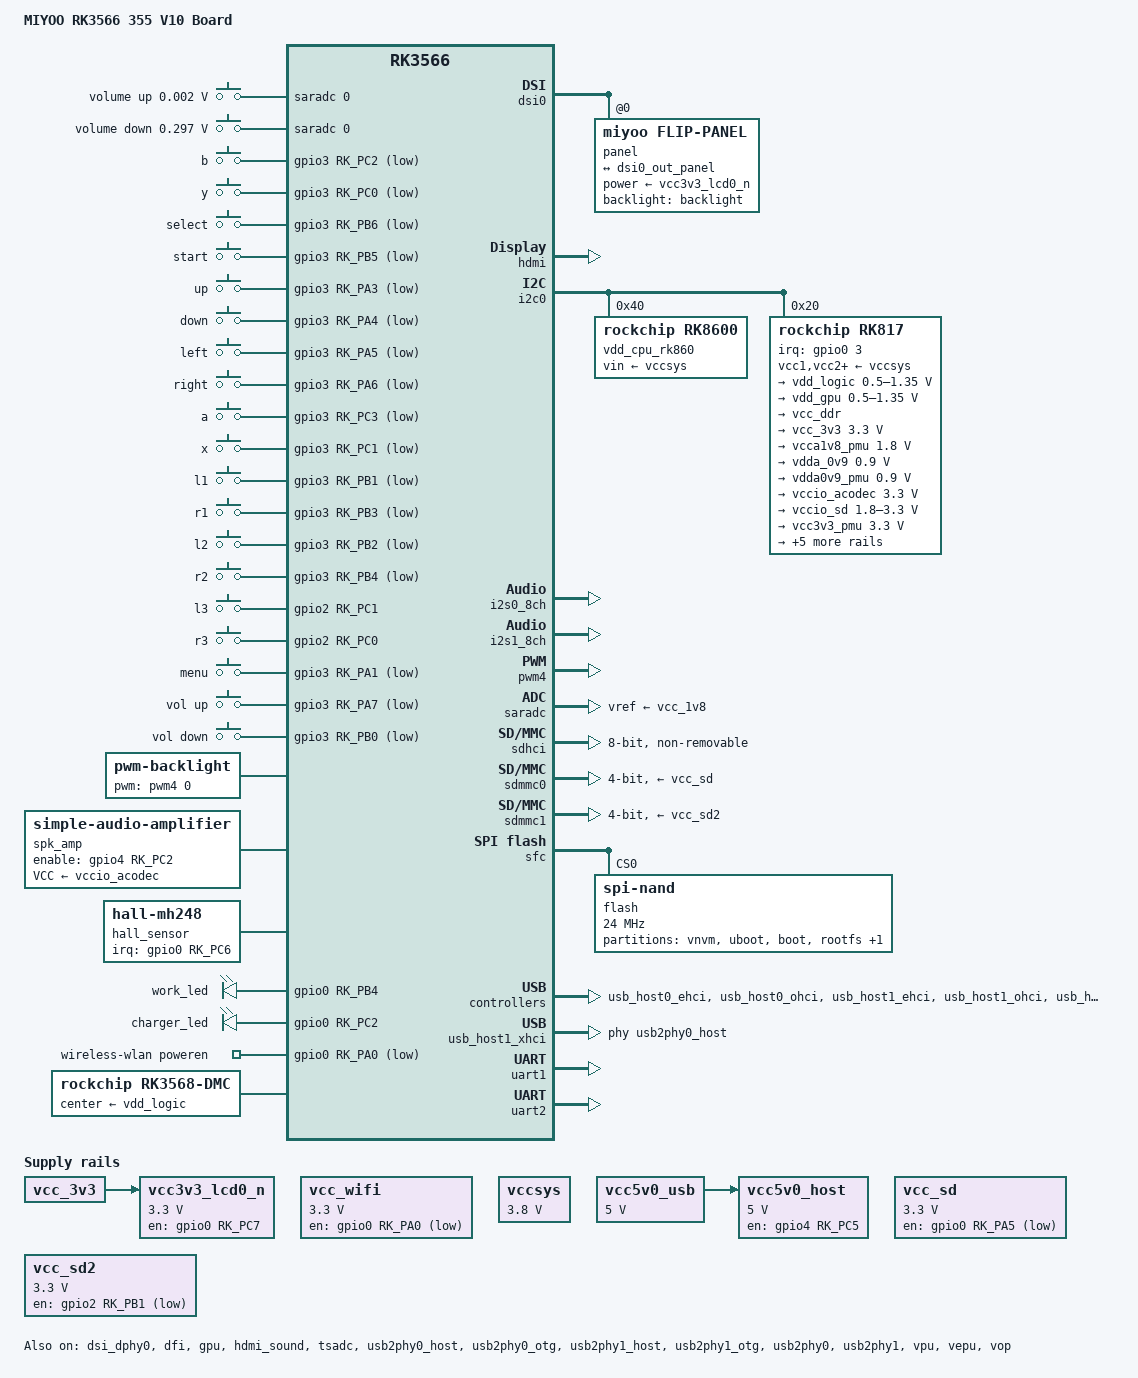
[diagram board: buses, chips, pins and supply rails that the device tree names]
// SPDX-License-Identifier: (GPL-2.0+ OR MIT)
/*
 * Copyright (c) 2020 Rockchip Electronics Co., Ltd.
 * Miyoo Flip (codename miyoo-355) - Mainline Linux device tree
 */
/dts-v1/;

#include <dt-bindings/gpio/gpio.h>
#include <dt-bindings/pinctrl/rockchip.h>
#include <dt-bindings/pwm/pwm.h>
#include <dt-bindings/input/input.h>
#include <dt-bindings/interrupt-controller/irq.h>
#include <dt-bindings/soc/rockchip,vop2.h>
#include "rk3566.dtsi"

/ {
	model = "MIYOO RK3566 355 V10 Board";
	compatible = "rockchip,rk3566-miyoo-355-v10-linux", "rockchip,rk3566";

	chosen {
		/* Serial console: kernel and bootloader use UART2 @ 0xfe660000 (ttyS2, 1500000 8n1). No console=tty0 until display works. */
		/* root: Kernel 6.1 creates 6 MTD block devices (mtdblock0=whole/other, 1=vnvm, 2=uboot, 3=boot, 4=rootfs, 5=userdata), so rootfs is mtdblock4. For 6.6/6.11 (5 partitions) rootfs is mtdblock3 — override in U-Boot if needed. See docs/PARTITION-LAYOUT.md. */
		/* To find hang: add " initcall_debug loglevel=8" after earlycon (see docs/STOCK-VS-MAINLINE-BOOT.md). */
		/* Debug: to trace sync_state/deferred-probe issues, add:
		 *   fw_devlink.sync_state=strict deferred_probe_timeout=15
		 * To trace init-call ordering: add  initcall_debug loglevel=8  */
		bootargs = "earlycon=uart8250,mmio32,0xfe660000 console=ttyS2,1500000n8 root=/dev/mtdblock3 rootfstype=squashfs rootwait fw_devlink=permissive";
		stdout-path = "serial2:1500000n8";
		linux,stdout-path = "serial2:1500000n8";
	};

	adc_keys: adc-keys {
		compatible = "adc-keys";
		io-channels = <&saradc 0>;
		io-channel-names = "buttons";
		keyup-threshold-microvolt = <1800000>;
		poll-interval = <100>;

		vol-up-key {
			label = "volume up";
			linux,code = <KEY_VOLUMEUP>;
			press-threshold-microvolt = <1750>;
		};

		vol-down-key {
			label = "volume down";
			linux,code = <KEY_VOLUMEDOWN>;
			press-threshold-microvolt = <297500>;
		};
	};

/*
#define RETRO_DEVICE_ID_JOYPAD_B        0
#define RETRO_DEVICE_ID_JOYPAD_Y        1
#define RETRO_DEVICE_ID_JOYPAD_SELECT   2
#define RETRO_DEVICE_ID_JOYPAD_START    3
#define RETRO_DEVICE_ID_JOYPAD_UP       4
#define RETRO_DEVICE_ID_JOYPAD_DOWN     5
#define RETRO_DEVICE_ID_JOYPAD_LEFT     6
#define RETRO_DEVICE_ID_JOYPAD_RIGHT    7
#define RETRO_DEVICE_ID_JOYPAD_A        8
#define RETRO_DEVICE_ID_JOYPAD_X        9
#define RETRO_DEVICE_ID_JOYPAD_L       10
#define RETRO_DEVICE_ID_JOYPAD_R       11
#define RETRO_DEVICE_ID_JOYPAD_L2      12
#define RETRO_DEVICE_ID_JOYPAD_R2      13
#define RETRO_DEVICE_ID_JOYPAD_L3      14
#define RETRO_DEVICE_ID_JOYPAD_R3      15
*/

	gpio-keys {
		compatible = "gpio-keys";
		autorepeat;
		b-button {
				label = "b";
				linux,code = <KEY_LEFTCTRL>;
				gpios = <&gpio3 RK_PC2 GPIO_ACTIVE_LOW>;
		};
		y-button {
				label = "y";
				linux,code = <KEY_LEFTALT>;
				gpios = <&gpio3 RK_PC0 GPIO_ACTIVE_LOW>;
		};
		select-button {
				label = "select";
				linux,code = <KEY_RIGHTCTRL>;
				gpios = <&gpio3 RK_PB6 GPIO_ACTIVE_LOW>;
		};
		start-button {
				label = "start";
				linux,code = <KEY_ENTER>;
				gpios = <&gpio3 RK_PB5 GPIO_ACTIVE_LOW>;
		};
		up-button {
				label = "up";
				linux,code = <KEY_UP>;
				gpios = <&gpio3 RK_PA3 GPIO_ACTIVE_LOW>;
		};
		down-button {
				label = "down";
				linux,code = <KEY_DOWN>;
				gpios = <&gpio3 RK_PA4 GPIO_ACTIVE_LOW>;
		};
		left-button {
				label = "left";
				linux,code = <KEY_LEFT>;
				gpios = <&gpio3 RK_PA5 GPIO_ACTIVE_LOW>;
		};
		right-button {
				label = "right";
				linux,code = <KEY_RIGHT>;
				gpios = <&gpio3 RK_PA6 GPIO_ACTIVE_LOW>;
		};
		a-button {
				label = "a";
				linux,code = <KEY_SPACE>;
				gpios = <&gpio3 RK_PC3 GPIO_ACTIVE_LOW>;
		};
		x-button {
				label = "x";
				linux,code = <KEY_LEFTSHIFT>;
				gpios = <&gpio3 RK_PC1 GPIO_ACTIVE_LOW>;
		};
		l1-button {
				label = "l1";
				linux,code = <KEY_TAB>;
				gpios = <&gpio3 RK_PB1 GPIO_ACTIVE_LOW>;
		};
		r1-button {
				label = "r1";
				linux,code = <KEY_BACKSPACE>;
				gpios = <&gpio3 RK_PB3 GPIO_ACTIVE_LOW>;
		};
		l2-button {
				label = "l2";
				linux,code = <KEY_PAGEUP>;
				gpios = <&gpio3 RK_PB2 GPIO_ACTIVE_LOW>;
		};
		r2-button {
				label = "r2";
				linux,code = <KEY_PAGEDOWN>;
				gpios = <&gpio3 RK_PB4 GPIO_ACTIVE_LOW>;
		};
		l3-button {
				label = "l3";
				linux,code = <KEY_RIGHTALT>;
				gpios = <&gpio2 RK_PC1 GPIO_ACTIVE_HIGH>;
		};
		r3-button {
				label = "r3";
				linux,code = <KEY_RIGHTSHIFT>;
				gpios = <&gpio2 RK_PC0 GPIO_ACTIVE_HIGH>;
		};
		mode-button {
				label = "menu";
				linux,code = <KEY_ESC>;
				gpios = <&gpio3 RK_PA1 GPIO_ACTIVE_LOW>;
		};
		vol-up-button {
				label = "vol up";
				linux,code = <KEY_VOLUMEUP>;
				gpios = <&gpio3 RK_PA7 GPIO_ACTIVE_LOW>;
		};
		vol-down-button {
				label = "vol down";
				linux,code = <KEY_VOLUMEDOWN>;
				gpios = <&gpio3 RK_PB0 GPIO_ACTIVE_LOW>;
		};
	};

	backlight: backlight {
		compatible = "pwm-backlight";
		pwms = <&pwm4 0 1250000 0>;
		brightness-levels = <
			  0  20  20  21  21  22  22  23
			 23  24  24  25  25  26  26  27
			 27  28  28  29  29  30  30  31
			 31  32  32  33  33  34  34  35
			 35  36  36  37  37  38  38  39
			 40  41  42  43  44  45  46  47
			 48  49  50  51  52  53  54  55
			 56  57  58  59  60  61  62  63
			 64  65  66  67  68  69  70  71
			 72  73  74  75  76  77  78  79
			 80  81  82  83  84  85  86  87
			 88  89  90  91  92  93  94  95
			 96  97  98  99 100 101 102 103
			104 105 106 107 108 109 110 111
			112 113 114 115 116 117 118 119
			120 121 122 123 124 125 126 127
			128 129 130 131 132 133 134 135
			136 137 138 139 140 141 142 143
			144 145 146 147 148 149 150 151
			152 153 154 155 156 157 158 159
			160 161 162 163 164 165 166 167
			168 169 170 171 172 173 174 175
			176 177 178 179 180 181 182 183
			184 185 186 187 188 189 190 191
			192 193 194 195 196 197 198 199
			200 201 202 203 204 205 206 207
			208 209 210 211 212 213 214 215
			216 217 218 219 220 221 222 223
			224 225 226 227 228 229 230 231
			232 233 234 235 236 237 238 239
			240 241 242 243 244 245 246 247
			248 249 250 251 252 253 254 255
		>;
		default-brightness-level = <200>;
	};

	/* WiFi/BT power control: RTL8733BU combo chip, USB-attached.
	 * BSP used wireless-wlan { compatible = "wlan-platdata"; WIFI,poweren_gpio = <&gpio0 RK_PA0 GPIO_ACTIVE_LOW>; }
	 * Mainline: regulator-fixed that is always-on, powering the WiFi/BT module at boot.
	 * GPIO0_A0 active-low means the chip is enabled when GPIO is LOW (enable-active-low). */
	vcc_wifi: vcc-wifi {
		compatible = "regulator-fixed";
		regulator-name = "vcc_wifi";
		regulator-min-microvolt = <3300000>;
		regulator-max-microvolt = <3300000>;
		enable-active-low;
		gpio = <&gpio0 RK_PA0 GPIO_ACTIVE_LOW>;
		pinctrl-names = "default";
		pinctrl-0 = <&wifi_enable_h>;
		regulator-boot-on;
		regulator-always-on;
	};

	/* hdmi-sound: use definition from rk356x-base.dtsi (codec/cpu order, mclk-fs 256); only enable via &hdmi_sound below */

	/* Speaker amplifier enable: GPIO4_PC2 (same pin as BSP spk-ctl-gpios).
	 * In mainline, use simple-audio-amplifier + aux-devs instead of BSP codec driver GPIO.
	 * VCC-supply powers the amp; vccio_acodec (3.3V) is the audio codec IO supply. */
	spk_amp: audio-amplifier {
		compatible = "simple-audio-amplifier";
		VCC-supply = <&vccio_acodec>;
		enable-gpios = <&gpio4 RK_PC2 GPIO_ACTIVE_HIGH>;
		pinctrl-names = "default";
		pinctrl-0 = <&spk_amp_enable_h>;
		sound-name-prefix = "Speaker Amp";
	};

	rk817-sound {
		status = "okay";
		compatible = "simple-audio-card";
		simple-audio-card,name = "rockchip-rk817";
		simple-audio-card,aux-devs = <&spk_amp>;
		simple-audio-card,format = "i2s";
		simple-audio-card,mclk-fs = <256>;
		simple-audio-card,widgets =
			"Headphone", "Headphones",
			"Speaker", "Speaker";
		simple-audio-card,routing =
			"Headphones", "HPOL",
			"Headphones", "HPOR",
			"Speaker Amp INL", "SPKO",
			"Speaker Amp INR", "SPKO",
			"Speaker", "Speaker Amp OUTL",
			"Speaker", "Speaker Amp OUTR";

		simple-audio-card,cpu {
			sound-dai = <&i2s1_8ch>;
		};
		simple-audio-card,codec {
			sound-dai = <&rk817>;
		};
	};

	/* Panel init sequence (BSP: panel-init-sequence) and timings are in the
	 * miyoo,flip-panel entry in panel-simple.c. The panel is a child of &dsi0. */

	hall_sensor: hall-mh248 {
		compatible = "hall-mh248";
		irq-gpio = <&gpio0 RK_PC6 IRQ_TYPE_EDGE_BOTH>;
		hall-active = <1>;
		status = "okay";
	};

	leds: leds {
		compatible = "gpio-leds";
		work_led: work {
			gpios = <&gpio0 RK_PB4 GPIO_ACTIVE_HIGH>;
			linux,default-trigger = "default-on";
		};
		charger_led: charger {
			gpios = <&gpio0 RK_PC2 GPIO_ACTIVE_HIGH>;
			linux,default-trigger = "battery-charging";
			retain-state-suspended;
		};
	};

	vccsys: vccsys {
		compatible = "regulator-fixed";
		regulator-name = "vcc3v8_sys";
		regulator-always-on;
		regulator-boot-on;
		regulator-min-microvolt = <3800000>;
		regulator-max-microvolt = <3800000>;
	};

	vcc5v0_usb: vcc5v0-usb {
		compatible = "regulator-fixed";
		regulator-name = "vcc5v0_usb";
		regulator-always-on;
		regulator-boot-on;
		regulator-min-microvolt = <5000000>;
		regulator-max-microvolt = <5000000>;
	};

	vcc5v0_host: vcc5v0-host-regulator {
		compatible = "regulator-fixed";
		regulator-name = "vcc5v0_host";
		regulator-boot-on;
		regulator-always-on;
		regulator-min-microvolt = <5000000>;
		regulator-max-microvolt = <5000000>;
		enable-active-high;
		gpio = <&gpio4 RK_PC5 GPIO_ACTIVE_HIGH>;	/*USB_HOST_PWREN2_H*/
		vin-supply = <&vcc5v0_usb>;
		pinctrl-names = "default";
		pinctrl-0 = <&vcc5v0_host_en>;
	};
	
	vcc3v3_lcd0_n: vcc3v3-lcd0-n {
		compatible = "regulator-fixed";
		regulator-name = "vcc3v3_lcd0_n";
		regulator-boot-on;
		regulator-always-on;
		regulator-min-microvolt = <3300000>;
		regulator-max-microvolt = <3300000>;
		enable-active-high;
		gpio = <&gpio0 RK_PC7 GPIO_ACTIVE_HIGH>;	/*LCD_PWREN_H*/
		vin-supply = <&vcc_3v3>;

		regulator-state-mem {
			regulator-off-in-suspend;
		};
	};
	
/*
	wifi_usb: wifi-usb {
		compatible = "regulator-fixed";
		regulator-name = "wifi_usb";
		regulator-min-microvolt = <3300000>;
		regulator-max-microvolt = <3300000>;
		regulator-boot-on;
		enable-active-low;
		gpio = <&gpio0 RK_PA0 GPIO_ACTIVE_LOW>;
	};
*/

	wireless-wlan {
		compatible = "wlan-platdata";
		rockchip,grf = <&grf>;
		wifi_chip_type = "rtl8733bu";
		pinctrl-names = "default";
		/* pinctrl-0 = <&wifi_host_wake_irq>; */
		/* WIFI,host_wake_irq = <&gpio0 RK_PC4 GPIO_ACTIVE_HIGH>; */
		WIFI,poweren_gpio = <&gpio0 RK_PA0 GPIO_ACTIVE_LOW>;	/*WIFI_PWREN_L*/
		status = "okay";
	};

	vcc_sd: vcc-sd {
		compatible = "regulator-fixed";
		enable-active-low;
		enable-gpio = <&gpio0 RK_PA5 GPIO_ACTIVE_LOW>;	/*SDMMC_PWREN_L*/
		regulator-min-microvolt = <3300000>;
		regulator-max-microvolt = <3300000>;
		pinctrl-names = "default";
		pinctrl-0 = <&vcc_sd_h>;
		regulator-name = "vcc_sd";
	};
	
	vcc_sd2: vcc-sd2 {
		compatible = "regulator-fixed";
		enable-active-low;
		enable-gpio = <&gpio2 RK_PB1 GPIO_ACTIVE_LOW>;	/*SDMMC1_PWREN_L*/
		regulator-min-microvolt = <3300000>;
		regulator-max-microvolt = <3300000>;
		pinctrl-names = "default";
		pinctrl-0 = <&vcc_sd2_h>;
		regulator-name = "vcc_sd2";
	};

	/* test-power: stock BSP node for factory testing. Harmless to keep. */
	test-power {
		status = "okay";
	};

	/* DMC: DDR Memory Controller devfreq node.
	 * The out-of-tree rk3568_dmc.ko module probes this node and uses the
	 * TF-A SIP v2 shared-memory interface for DDR frequency scaling.
	 * devfreq-events = DFI for DDR bandwidth monitoring.
	 * center-supply = vdd_logic (shared logic supply, handles voltage).
	 * OPP table: frequencies from TF-A boot log (dfs DDR fsp_param). */
	dmc: dmc {
		compatible = "rockchip,rk3568-dmc";
		devfreq-events = <&dfi>;
		center-supply = <&vdd_logic>;
		operating-points-v2 = <&dmc_opp_table>;
		status = "okay";
	};

	dmc_opp_table: dmc-opp-table {
		compatible = "operating-points-v2";

		opp-324000000 {
			opp-hz = /bits/ 64 <324000000>;
			opp-microvolt = <900000>;
		};
		opp-528000000 {
			opp-hz = /bits/ 64 <528000000>;
			opp-microvolt = <900000>;
		};
		opp-780000000 {
			opp-hz = /bits/ 64 <780000000>;
			opp-microvolt = <900000>;
		};
		opp-1056000000 {
			opp-hz = /bits/ 64 <1056000000>;
			opp-microvolt = <900000>;
		};
	};
};

/* Display pipeline (stock: dsi0 + route_dsi0 connect vp1_out_dsi0 + dsi0_in_vp1; mainline: OF graph vp1->dsi0_in, dsi0_out->panel). DPHY required for DSI. */
&dsi_dphy0 {
	status = "okay";
};

&dsi_dphy1 {
	status = "disabled";
};

/* VOP2 -> DSI0 pipeline: use VP1 (matches BSP stock DTS; BSP uses dsi0_in_vp1 + route_dsi0 connect = vp1_out_dsi0) */
&dsi0_in {
	dsi0_in_vp1: endpoint {
		remote-endpoint = <&vp1_out_dsi0>;
	};
};

&vp1 {
	vp1_out_dsi0: endpoint@ROCKCHIP_VOP2_EP_MIPI0 {
		reg = <ROCKCHIP_VOP2_EP_MIPI0>;
		remote-endpoint = <&dsi0_in_vp1>;
	};
};

/* VOP2 -> HDMI pipeline: use VP0 (standard for RK356x).
 * Without this, dw_hdmi_rockchip_bind() returns -EPROBE_DEFER
 * (possible_crtcs == 0) which blocks the entire display-subsystem master. */
&hdmi_in {
	hdmi_in_vp0: endpoint {
		remote-endpoint = <&vp0_out_hdmi>;
	};
};

&vp0 {
	vp0_out_hdmi: endpoint@ROCKCHIP_VOP2_EP_HDMI0 {
		reg = <ROCKCHIP_VOP2_EP_HDMI0>;
		remote-endpoint = <&hdmi_in_vp0>;
	};
};

/* DFI: DDR bandwidth monitor — provides devfreq-event data for DDR utilization.
 * Already in mainline rk356x-base.dtsi (compatible "rockchip,rk3568-dfi").
 * Used by the rk3568_dmc module for DDR frequency scaling decisions. */
&dfi {
	status = "okay";
};

&cpu0 {
	cpu-supply = <&vdd_cpu_rk860>;
	status = "okay";
};

&dsi0 {
	status = "okay";
	/* Avoid deferred probe: CRU apb reset can defer; remove so DSI probes. */
	/delete-property/ resets;
	/delete-property/ reset-names;

	/* DSI child addressing: virtual-channel number (1 cell, no size). */
	#address-cells = <1>;
	#size-cells = <0>;

	/* Panel MUST be a child of the DSI host: mipi_dsi_host_register()
	 * scans children to create MIPI DSI devices. fw_devlink cycles
	 * (dsi↔panel) are auto-relaxed ("Fixed dependency cycle(s)").
	 * BSP uses "simple-panel-dsi" + panel-init-sequence (Rockchip patch);
	 * mainline has no such driver, so we use a panel-simple.c entry.
	 *
	 * The panel ALSO needs an OF graph connection from dsi0 port@1
	 * because mainline dw_mipi_dsi_host_attach() calls
	 * devm_drm_of_get_bridge(dev, node, 1, 0) to find the panel
	 * bridge BEFORE calling pdata->host_ops->attach (component_add).
	 * Without this endpoint, the attach aborts with -ENODEV. */
	panel@0 {
		compatible = "miyoo,flip-panel";
		reg = <0>;
		status = "okay";
		power-supply = <&vcc3v3_lcd0_n>;
		backlight = <&backlight>;

		port {
			panel_in_dsi: endpoint {
				remote-endpoint = <&dsi0_out_panel>;
			};
		};
	};
};

/* Connect DSI output port to the panel (required by mainline dw-mipi-dsi). */
&dsi0_out {
	dsi0_out_panel: endpoint {
		remote-endpoint = <&panel_in_dsi>;
	};
};

/* route_dsi0, dsi0_in_vp0, dsi0_in_vp1, hdmi_in_vp0, hdmi_in_vp1, route_hdmi are BSP display-subsystem nodes; not in mainline rk356x */

&gpu {
	mali-supply = <&vdd_gpu>;
	status = "okay";
};

&hdmi {
	status = "okay";
	avdd-0v9-supply = <&vdda_0v9>;
	avdd-1v8-supply = <&vcc_1v8>;
	rockchip,phy-table =
		<92812500  0x8009 0x0000 0x0270>,
		<165000000 0x800b 0x0000 0x026d>,
		<185625000 0x800b 0x0000 0x01ed>,
		<297000000 0x800b 0x0000 0x01ad>,
		<594000000 0x8029 0x0000 0x0088>,
		<000000000 0x0000 0x0000 0x0000>;
};

&hdmi_sound {
	status = "okay";
};


&i2c0 {
	status = "okay";

	/* TCS4525 at 0x1c: not populated on this board revision.
	 * The Miyoo Flip V10 uses an RK8600 at 0x40 for the CPU rail.
	 * Disabled to silence "fan53555-regulator 0-001c: Failed to get chip ID" error. */
	vdd_cpu: tcs4525@1c {
		compatible = "tcs,tcs4525";
		reg = <0x1c>;
		status = "disabled";
	};

    /* CPU rail: fan53555 driver probes this (RK8600 shares code). Must set fcs,suspend-voltage-selector
     * so driver uses correct VSEL; wrong value can drop CPU rail and hang right after "FAN53555 Detected!".
     * See deep-research-report.md. */
    vdd_cpu_rk860: rk8600@40{
        compatible = "rockchip,rk8600";
        reg = <0x40>;
        vin-supply = <&vccsys>;
        regulator-compatible = "rk860x-reg";
        regulator-name = "vdd_cpu";
        regulator-min-microvolt = <712500>;
        regulator-max-microvolt = <1390000>;
        regulator-init-microvolt = <900000>;
        regulator-ramp-delay = <2300>;
        fcs,suspend-voltage-selector = <1>;  /* driver only reads this property name; <1> = safe for RK3566 */
        regulator-boot-on;
        regulator-always-on;
        regulator-state-mem {
            regulator-off-in-suspend;
        };
    };

	rk817: pmic@20 {
		status = "okay";
		compatible = "rockchip,rk817";
		reg = <0x20>;
		interrupt-parent = <&gpio0>;
		interrupts = <3 IRQ_TYPE_LEVEL_LOW>;

		pinctrl-names = "default", "pmic-sleep",
				"pmic-power-off", "pmic-reset";
		pinctrl-0 = <&pmic_int>, <&i2s1m0_mclk>;
		pinctrl-1 = <&soc_slppin_slp>, <&rk817_slppin_slp>;
		pinctrl-2 = <&soc_slppin_gpio>, <&rk817_slppin_pwrdn>;
		pinctrl-3 = <&soc_slppin_gpio>, <&rk817_slppin_rst>;
		rockchip,system-power-controller;
		wakeup-source;
		#clock-cells = <1>;
		#sound-dai-cells = <0>;
		clock-output-names = "rk808-clkout1", "rk808-clkout2";
		clock-names = "mclk";
		clocks = <&cru I2S1_MCLKOUT_TX>;
		assigned-clocks = <&cru I2S1_MCLKOUT_TX>;
		assigned-clock-parents = <&cru CLK_I2S1_8CH_TX>;
		assigned-clock-rates = <12288000>;

		vcc1-supply = <&vccsys>;
		vcc2-supply = <&vccsys>;
		vcc3-supply = <&vccsys>;
		vcc4-supply = <&vccsys>;
		vcc5-supply = <&vccsys>;
		vcc6-supply = <&vccsys>;
		vcc7-supply = <&vccsys>;
		vcc8-supply = <&vccsys>;
		/* vcc9 = vccsys to avoid fw_devlink cycle: pmic -> BOOST -> pmic (mainline 6.6+) */
		vcc9-supply = <&vccsys>;

		pwrkey {
			status = "okay";
		};

		pinctrl_rk8xx: pinctrl_rk8xx {
			gpio-controller;
			#gpio-cells = <2>;

			rk817_slppin_null: rk817_slppin_null {
				pins = "gpio_slp";
				function = "pin_fun0";
			};

			rk817_slppin_slp: rk817_slppin_slp {
				pins = "gpio_slp";
				function = "pin_fun1";
			};

			rk817_slppin_pwrdn: rk817_slppin_pwrdn {
				pins = "gpio_slp";
				function = "pin_fun2";
			};

			rk817_slppin_rst: rk817_slppin_rst {
				pins = "gpio_slp";
				function = "pin_fun3";
			};
		};

		regulators {
			vdd_logic: DCDC_REG1 {
				regulator-always-on;
				regulator-boot-on;
				regulator-min-microvolt = <500000>;
				regulator-max-microvolt = <1350000>;
				regulator-init-microvolt = <900000>;
				regulator-ramp-delay = <6001>;
				regulator-initial-mode = <0x2>;
				regulator-name = "vdd_logic";
				regulator-state-mem {
					regulator-off-in-suspend;
				};
			};

			vdd_gpu: DCDC_REG2 {
				regulator-always-on;
				regulator-boot-on;
				regulator-min-microvolt = <500000>;
				regulator-max-microvolt = <1350000>;
				regulator-init-microvolt = <900000>;
				regulator-ramp-delay = <6001>;
				regulator-initial-mode = <0x2>;
				regulator-name = "vdd_gpu";
				regulator-state-mem {
					regulator-off-in-suspend;
				};
			};

			vcc_ddr: DCDC_REG3 {
				regulator-always-on;
				regulator-boot-on;
				regulator-initial-mode = <0x2>;
				regulator-name = "vcc_ddr";
				regulator-state-mem {
					regulator-on-in-suspend;
				};
			};

			vcc_3v3: DCDC_REG4 {
				regulator-always-on;
				regulator-boot-on;
				regulator-min-microvolt = <3300000>;
				regulator-max-microvolt = <3300000>;
				regulator-initial-mode = <0x2>;
				regulator-name = "vcc_3v3";
				regulator-state-mem {
					regulator-off-in-suspend;
					regulator-suspend-microvolt = <3300000>;
				};
			};

			vcca1v8_pmu: LDO_REG1 {
				regulator-always-on;
				regulator-boot-on;
				regulator-min-microvolt = <1800000>;
				regulator-max-microvolt = <1800000>;
				regulator-name = "vcca1v8_pmu";
				regulator-state-mem {
					regulator-on-in-suspend;
					regulator-suspend-microvolt = <1800000>;
				};
			};

			vdda_0v9: LDO_REG2 {
				regulator-always-on;
				regulator-boot-on;
				regulator-min-microvolt = <900000>;
				regulator-max-microvolt = <900000>;
				regulator-name = "vdda_0v9";
				regulator-state-mem {
					regulator-off-in-suspend;
				};
			};

			vdda0v9_pmu: LDO_REG3 {
				regulator-always-on;
				regulator-boot-on;
				regulator-min-microvolt = <900000>;
				regulator-max-microvolt = <900000>;
				regulator-name = "vdda0v9_pmu";
				regulator-state-mem {
					regulator-on-in-suspend;
					regulator-suspend-microvolt = <900000>;
				};
			};

			vccio_acodec: LDO_REG4 {
				regulator-always-on;
				regulator-boot-on;
				regulator-min-microvolt = <3300000>;
				regulator-max-microvolt = <3300000>;
				regulator-name = "vccio_acodec";
				regulator-state-mem {
					regulator-off-in-suspend;
				};
			};

			vccio_sd: LDO_REG5 {
				regulator-always-on;
				regulator-boot-on;
				regulator-min-microvolt = <1800000>;
				regulator-max-microvolt = <3300000>;
				regulator-name = "vccio_sd";
				regulator-state-mem {
					regulator-off-in-suspend;
				};
			};

			vcc3v3_pmu: LDO_REG6 {
				regulator-always-on;
				regulator-boot-on;
				regulator-min-microvolt = <3300000>;
				regulator-max-microvolt = <3300000>;
				regulator-name = "vcc3v3_pmu";
				regulator-state-mem {
					regulator-on-in-suspend;
					regulator-suspend-microvolt = <3300000>;
				};
			};

			vcc_1v8: LDO_REG7 {
				regulator-always-on;
				regulator-boot-on;
				regulator-min-microvolt = <1800000>;
				regulator-max-microvolt = <1800000>;
				regulator-name = "vcc_1v8";
				regulator-state-mem {
					regulator-off-in-suspend;
				};
			};

			vcc1v8_dvp: LDO_REG8 {
				regulator-always-on;
				regulator-boot-on;
				regulator-min-microvolt = <1800000>;
				regulator-max-microvolt = <1800000>;
				regulator-name = "vcc1v8_dvp";
				regulator-state-mem {
					regulator-off-in-suspend;
				};
			};

			vcc2v8_dvp: LDO_REG9 {
				regulator-always-on;
				regulator-boot-on;
				regulator-min-microvolt = <2800000>;
				regulator-max-microvolt = <2800000>;
				regulator-name = "vcc2v8_dvp";
				regulator-state-mem {
					regulator-off-in-suspend;
				};
			};

			dcdc_boost: BOOST {
				regulator-always-on;
				regulator-boot-on;
				regulator-min-microvolt = <5000000>;
				regulator-max-microvolt = <5000000>;
				regulator-name = "boost";
				regulator-state-mem {
					regulator-off-in-suspend;
				};
			};

			otg_switch: OTG_SWITCH {
				regulator-name = "otg_switch";
				regulator-state-mem {
					regulator-off-in-suspend;
				};
			};
		};

		battery {
			compatible = "rk817,battery";
			ocv_table = <3400 3420 3450 3470 3495 3516 3540
			          3566 3585 3622 3655 3685 3727 3759
					  3790 3836 3873 3920 3970 4186 4227>;
			design_capacity = <3000>;
			design_qmax = <3300>;
			bat_res = <100>;
			sleep_enter_current = <150>;
			sleep_exit_current = <180>;
			sleep_filter_current = <100>;
			power_off_thresd = <3350>;
			zero_algorithm_vol = <3850>;
			max_soc_offset = <60>;
			monitor_sec = <5>;
			sample_res = <10>;
			virtual_power = <0>;
		};

		charger {
			compatible = "rk817,charger";
			min_input_voltage = <4500>;
			max_input_current = <1800>;
			max_chrg_current = <1800>;
			max_chrg_voltage = <4300>;
			chrg_term_mode = <0>;
			chrg_finish_cur = <300>;
			virtual_power = <0>;
			dc_det_adc = <0>;
			extcon = <&usb2phy0>;
			gate_function_disable = <1>;
		};

		/*
		 * Mainline rk817-codec driver reads DT properties from
		 * of_get_child_by_name(dev->parent->of_node, "codec").
		 * No compatible needed; MFD cell matches by platform name.
		 * Clocks/pinctrl come from the PMIC parent node above.
		 */
		codec {
		};
	};
};

/* MUIC (Micro USB Interface Controller) — proprietary "gi,muic" chip for
 * USB cable-type detection (charger vs data vs OTG).  No mainline driver.
 * Basic charge/USB detection works through USB PHY extcon (usb2phy0)
 * without this, so keep i2c3 disabled. */
&i2c3 {
	status = "disabled";
};

&i2s0_8ch {
	status = "okay";
};

&i2s1_8ch {
	status = "okay";
	/* BSP used rockchip,clk-trcm = <1>; mainline property name is different */
	rockchip,trcm-sync-tx-only;
	pinctrl-names = "default";
	pinctrl-0 = <&i2s1m0_sclktx
		     &i2s1m0_lrcktx
		     &i2s1m0_sdi0
		     &i2s1m0_sdo0>;
};

/* IEP (Image Enhancement Processor): hardware deinterlacer/scaler at 0xfdef0000.
 * The BSP uses "rockchip,iep-v2" which requires the proprietary MPP (Media Process
 * Platform) framework — a large set of BSP-only drivers (mpp_service, mpp_dev, etc.)
 * that have no mainline equivalent and cannot be ported as a simple out-of-tree module.
 * IEP shares PD_RGA power domain with RGA (which IS probed), so its power domain
 * is already managed — no battery penalty from leaving it disabled.
 * For retro gaming, IEP's deinterlacing is rarely useful (emulators output progressive).
 *
 * jpegd, jpegd_mmu, mpp_srv, nandc0: also BSP-only, not in mainline rk356x. */

 /*
  * There are 10 independent IO domains in RK3566/RK3568, including PMUIO[0:2] and VCCIO[1:7].
  * 1/ PMUIO0 and PMUIO1 are fixed-level power domains which cannot be configured;
  * 2/ PMUIO2 and VCCIO1,VCCIO[3:7] domains require that their hardware power supply voltages
  *    must be consistent with the software configuration correspondingly
  *	a/ When the hardware IO level is connected to 1.8V, the software voltage configuration
  *	   should also be configured to 1.8V accordingly;
  *	b/ When the hardware IO level is connected to 3.3V, the software voltage configuration
  *	   should also be configured to 3.3V accordingly;
  * 3/ VCCIO2 voltage control selection (0xFDC20140)
  *	BIT[0]: 0x0: from GPIO_0A7 (default)
  *	BIT[0]: 0x1: from GRF
  *    Default is determined by Pin FLASH_VOL_SEL/GPIO0_A7:
  *	L:VCCIO2 must supply 3.3V
  *	H:VCCIO2 must supply 1.8V
  */
&pmu_io_domains {
	status = "okay";
	pmuio2-supply = <&vcc3v3_pmu>;
	vccio1-supply = <&vccio_acodec>;
	vccio3-supply = <&vccio_sd>;
	vccio4-supply = <&vcc_3v3>;
	vccio5-supply = <&vcc_1v8>;
	vccio6-supply = <&vcc_1v8>;
	vccio7-supply = <&vcc_3v3>;
};

&pwm4 {
	status = "okay";
};

/* BSP-specific nodes not in mainline: rkvdec, rkvdec_mmu, rkvenc, rkvenc_mmu,
 * rknpu, rknpu_mmu.  Mainline equivalents: Hantro driver for VPU/VEPU,
 * rockchip-rga driver for RGA (see nodes below). */

&saradc {
	status = "okay";
	vref-supply = <&vcc_1v8>;
};

&sdhci {
	bus-width = <8>;
	no-sdio;
	no-sd;
	non-removable;
	max-frequency = <200000000>;
	full-pwr-cycle-in-suspend;
	status = "okay";
};

&sdmmc0 {
	max-frequency = <150000000>;
	no-sdio;
	no-mmc;
	bus-width = <4>;
	cap-mmc-highspeed;
	cap-sd-highspeed;
	disable-wp;
	sd-uhs-sdr104;
	vmmc-supply = <&vcc_sd>;
	vqmmc-supply = <&vccio_sd>;
	pinctrl-names = "default";
	pinctrl-0 = <&sdmmc0_bus4 &sdmmc0_clk &sdmmc0_cmd &sdmmc0_det>;
	status = "okay";
};

&sdmmc1 {
	max-frequency = <150000000>;
	no-sdio;
	no-mmc;
	bus-width = <4>;
	cap-mmc-highspeed;
	cap-sd-highspeed;
	disable-wp;
	sd-uhs-sdr104;
	vmmc-supply = <&vcc_sd2>;
	vqmmc-supply = <&vccio_sd>;
	pinctrl-names = "default";
	pinctrl-0 = <&sdmmc1_bus4 &sdmmc1_clk &sdmmc1_cmd &sdmmc1_det>;
	status = "okay";
};

&sfc {
	status = "okay";
	#address-cells = <1>;
	#size-cells = <0>;

	flash@0 {
		compatible = "spi-nand";
		reg = <0>;
		/* Lower 24 MHz + single-line RX: avoid "unknown raw ID c8017f7f" if ID read is wrong at 50MHz/quad. Chip is ESMT (0xc8); mainline has no ESMT SPI-NAND table—only config/DTS tweak. */
		spi-max-frequency = <24000000>;
		spi-rx-bus-width = <1>;
		spi-tx-bus-width = <1>;

		partitions {
			compatible = "fixed-partitions";
			#address-cells = <1>;
			#size-cells = <1>;

			/* Layout matches stock / mtdparts; root is mtdblock3 (rootfs); mtdblock0-4 = vnvm,uboot,boot,rootfs,userdata */
			partition@200000 {
				label = "vnvm";
				reg = <0x200000 0x100000>;
			};
			partition@300000 {
				label = "uboot";
				reg = <0x300000 0x400000>;
			};
			partition@700000 {
				label = "boot";
				reg = <0x700000 0x2600000>;
			};
			partition@2d00000 {
				label = "rootfs";
				reg = <0x2d00000 0x4000000>;
			};
			partition@6d00000 {
				label = "userdata";
				reg = <0x6d00000 0x1260000>;
			};
		};
	};
};

&tsadc {
	status = "okay";
	/* CRU mode (0): thermal shutdown resets via clock unit — no dedicated GPIO needed.
	 * GPIO mode (1) would require a board-specific thermal shutdown pin.
	 * Polarity 0 = active-low (matches Rockchip reference designs). */
	rockchip,hw-tshut-mode = <0>;
	rockchip,hw-tshut-polarity = <0>;
};

/* combphy1/combphy2: combo PHYs for USB3/SATA/PCIe.
 * Nothing on the Miyoo Flip uses USB3, SATA, or PCIe.
 * WiFi is USB2 (EHCI), and usb_host1_xhci is overridden to USB2-only below.
 * Disabling combphys allows PD_PIPE power domain to gate — saves power. */
&combphy1 {
	status = "disabled";
};

&combphy2 {
	status = "disabled";
};

&usb2phy0_host {
	phy-supply = <&vcc5v0_host>;
	status = "okay";
};

&usb2phy0_otg {
	status = "okay";
};

&usb2phy1_host {
	phy-supply = <&vcc5v0_host>;
	status = "okay";
};

&usb2phy1_otg {
	phy-supply = <&vcc5v0_host>;
	status = "okay";
};

&usb2phy0 {
	status = "okay";
};

&usb2phy1 {
	status = "okay";
};

&usb_host0_ehci {
	status = "okay";
};

&usb_host0_ohci {
	status = "okay";
};

&usb_host1_ehci {
	status = "okay";
};

&usb_host1_ohci {
	status = "okay";
};

/* BSP names → mainline names:
 *   usbdrd30 + usbdrd_dwc3  → usb_host0_xhci (OTG, 0xfcc00000)
 *   usbhost30 + usbhost_dwc3 → usb_host1_xhci (Host, 0xfd000000)
 * rk3566-base.dtsi already sets usb_host0_xhci to USB2-only (no USB3 on RK3566 OTG).
 * OTG port: charging detection via extcon = <&usb2phy0>, USB data, etc.
 * Host port: nothing on this board uses USB3 (WiFi is USB2 via EHCI).
 *
 * usb_host1_xhci in rk356x-base.dtsi references <&combphy1 PHY_TYPE_USB3>
 * but the Miyoo Flip has no USB3 signal routing on the host port.
 * DWC3 "failed to initialize core" occurs when the USB3 PHY can't power up.
 * Override to USB2-only (same approach as rk3566-base.dtsi uses for OTG). */

&usb_host0_xhci {
	status = "okay";
};

&usb_host1_xhci {
	status = "okay";
	phys = <&usb2phy0_host>;
	phy-names = "usb2-phy";
	maximum-speed = "high-speed";
};

/* VPU (Hantro video decoder @ fdea0000) and VEPU (H.264 encoder @ fdee0000):
 * Both are handled by the Hantro/Verisilicon driver (CONFIG_VIDEO_HANTRO).
 * The driver matches "rockchip,rk3568-vpu" and "rockchip,rk3568-vepu".
 *
 * RGA (2D blitter @ fdeb0000): handled by CONFIG_VIDEO_ROCKCHIP_RGA.
 * Its DTS compatible "rockchip,rk3568-rga" falls back to "rockchip,rk3288-rga".
 *
 * All three sit in separate power domains (PD_VPU, PD_RGA, PD_RKVENC).
 * The drivers implement runtime PM, so power domains gate when idle.
 * Without the drivers compiled, these nodes become orphaned power-domain
 * consumers that keep PD_* permanently ON — wasting power. */
&vpu {
	status = "okay";
};

&vdpu_mmu {
	status = "okay";
};

&vepu {
	status = "okay";
};

&vepu_mmu {
	status = "okay";
};

/* VOP must be "okay" or display-subsystem fails with "No available vop found". Enable so DRM can bind; display may still need DSI/panel fixes. */
&vop {
	status = "okay";
	assigned-clocks = <&cru DCLK_VOP0>, <&cru DCLK_VOP1>;
	assigned-clock-parents = <&pmucru PLL_HPLL>, <&cru PLL_VPLL>;
};

&vop_mmu {
	status = "okay";
};

&uart1 {
	status = "okay";
	dma-names = "tx", "rx";
	pinctrl-names = "default";
	pinctrl-0 = <&uart1m0_xfer &uart1m0_ctsn>;
};

/* Debug serial at 0xfe660000 (same as earlycon); must be okay for console=ttyS2 */
&uart2 {
	status = "okay";
};

&pinctrl {

	audio-amplifier {
		spk_amp_enable_h: spk-amp-enable-h {
			rockchip,pins =
				<4 RK_PC2 RK_FUNC_GPIO &pcfg_pull_none>;
		};
	};

	headphone {
		hp_det: hp-det {
			rockchip,pins = <4 RK_PC6 RK_FUNC_GPIO &pcfg_pull_down>;
		};
	};

	wireless-wlan {
		wifi_enable_h: wifi-enable-h {
			rockchip,pins =
				<0 RK_PA0 RK_FUNC_GPIO &pcfg_pull_none>;
		};
	};

	pmic {
		pmic_int: pmic_int {
			rockchip,pins =
				<0 RK_PA3 RK_FUNC_GPIO &pcfg_pull_up>;
		};

		soc_slppin_gpio: soc_slppin_gpio {
			rockchip,pins =
				<0 RK_PA2 RK_FUNC_GPIO &pcfg_output_low>;
		};

		soc_slppin_slp: soc_slppin_slp {
			rockchip,pins =
				<0 RK_PA2 1 &pcfg_pull_none>;
		};

		soc_slppin_rst: soc_slppin_rst {
			rockchip,pins =
				<0 RK_PA2 2 &pcfg_pull_none>;
		};
	};

	usb {
		vcc5v0_host_en: vcc5v0-host-en {
			rockchip,pins = <4 RK_PC5 RK_FUNC_GPIO &pcfg_pull_none>;
		};

	};

	vcc-sd {
		vcc_sd_h: vcc-sd-h {
			rockchip,pins = <0 RK_PA5 RK_FUNC_GPIO &pcfg_pull_down>;
		};
		vcc_sd2_h: vcc-sd2-h {
			rockchip,pins = <2 RK_PB1 RK_FUNC_GPIO &pcfg_pull_down>;
		};		
	};

};
